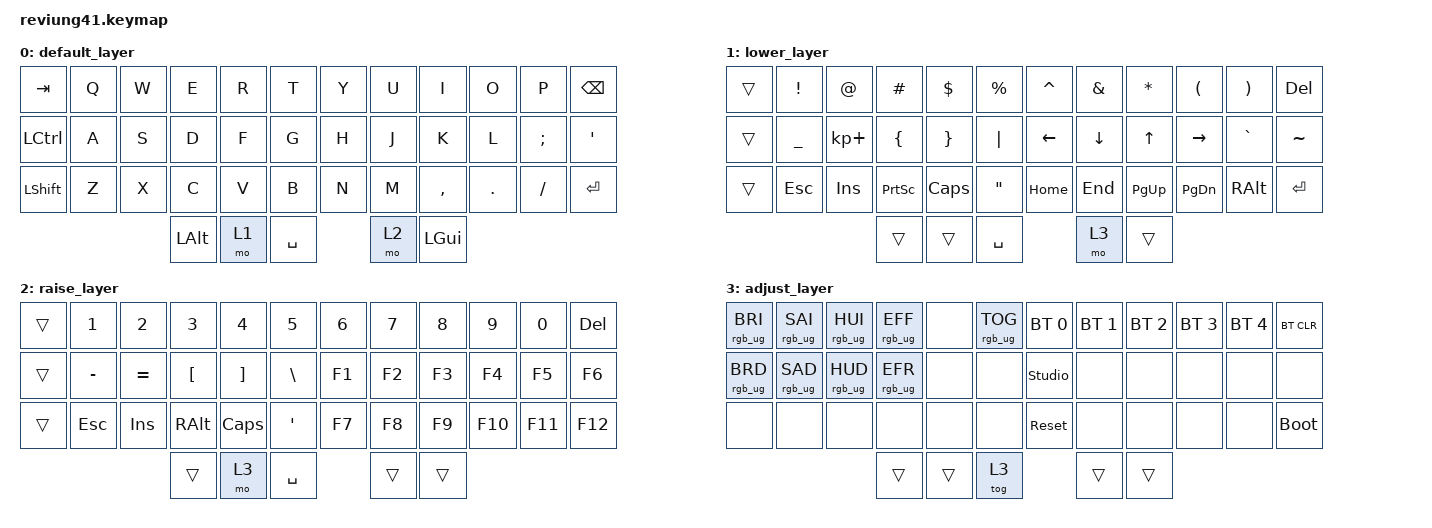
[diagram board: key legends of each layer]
/*
 * Copyright (c) 2020 The ZMK Contributors
 *
 * SPDX-License-Identifier: MIT
 */

#include <behaviors.dtsi>
#include <dt-bindings/zmk/keys.h>
#include <dt-bindings/zmk/bt.h>
#include <dt-bindings/zmk/rgb.h>

 #define DEFAULT 0
 #define LOWER  1
 #define RAISE  2
 #define ADJUST 3

/ {
        keymap {
                compatible = "zmk,keymap";

                default_layer {
// -------------------------------------------------------------------------------------
// |  TAB |  Q  |  W  |  E  |  R  |  T  |   |  Y  |  U   |  I  |  O  |  P  |   BKSP    |
// | CTRL |  A  |  S  |  D  |  F  |  G  |   |  H  |  J   |  K  |  L  |  ;  |    '      |
// | SHFT |  Z  |  X  |  C  |  V  |  B  |   |  N  |  M   |  ,  |  .  |  /  | SHFT(RET) |
//                         | ALT | LWR | SPC | RSE  | ALT |
                        bindings = <
   &kp TAB   &kp Q &kp W &kp E &kp R &kp T   &kp Y &kp U  &kp I     &kp O   &kp P    &kp BSPC
   &kp LCTRL &kp A &kp S &kp D &kp F &kp G   &kp H &kp J  &kp K     &kp L   &kp SEMI &kp SQT
   &kp LSHFT &kp Z &kp X &kp C &kp V &kp B   &kp N &kp M  &kp COMMA &kp DOT &kp FSLH &kp RET
                        &kp LALT  &mo 1 &kp SPACE &mo 2  &kp LGUI
                        >;
                };

                lower_layer {
// ----------------------------------------------------------------------------------
// |    |  !  |  @  |  #  |  $  |  %  |   |  ^  |  &  |  *  |  (  |  )  |    DEL    |
// |    |  _  |  +  |  {  |  }  | "|" |   | LFT | DWN |  UP | RGT |  `  |     ~     |
// |    | ESC | GUI | ALT | CAPS|  "  |   | HOME| END | PGUP| PGDN| PRSC| SHFT(RET) |
//                       |     |     | RET | ADJ |     |
                        bindings = <
   &trans &kp EXCL  &kp AT      &kp HASH &kp DLLR &kp PRCNT      &kp CARET &kp AMPS &kp STAR    &kp LPAR  &kp RPAR  &kp DEL
   &trans &kp UNDER &kp KP_PLUS &kp LBRC &kp RBRC &kp PIPE       &kp LEFT  &kp DOWN &kp UP    &kp RIGHT &kp GRAVE &kp TILDE
   &trans &kp ESC   &kp INS     &kp PSCRN &kp CLCK &kp DQT        &kp HOME  &kp END  &kp PG_UP &kp PG_DN &kp RALT &kp RET
                                 &trans      &trans       &kp SPACE        &mo 3       &trans
                        >;
                };

                raise_layer {
// -----------------------------------------------------------------------------------------
// |    |  1  |  2  |  3  |  4  |  5  |   |  6  |  7  |  8  |  9  |  0  | DEL |
// |    |  -  |  =  |  [  |  ]  |  \  |   | F1  | F2  | F3  | F4  | F5  | F6  |
// |    | ESC | GUI | ALT | CAPS|  "  |   | F7  | F8  | F9  | F10 | F11 | F12 |
//                       |     | ADJ | BKSP |    |     |
                        bindings = <
   &trans &kp N1    &kp N2    &kp N3    &kp N4    &kp N5        &kp N6    &kp N7    &kp N8    &kp N9    &kp N0    &kp DEL
   &trans &kp MINUS &kp EQUAL &kp LBKT  &kp RBKT  &kp BSLH      &kp F1    &kp F2    &kp F3    &kp F4    &kp F5    &kp F6
   &trans &kp ESC   &kp INS   &kp RALT  &kp CLCK  &kp SQT       &kp F7    &kp F8    &kp F9    &kp F10   &kp F11   &kp F12
                                &trans      &mo 3       &kp SPACE        &trans      &trans
                        >;
                };

                adjust_layer {
// -----------------------------------------------------------------------------------------
// | RGB BRI+ | RGB SAT+ | RGB HUE+ | RGB ANI+ |    | RGB TOG |   | BT1             | BT2 | BT3 | BT4 | BT5 | BT CLR |
// | RGB BRI- | RGB SAT- | RGB HUE- | RGB ANI- |    |         |   | studio_unlock   |     |     |     |     |        |
// |          |          |          |          |    |         |   | RESET           |     |     |     |     |        |
//                                              |     |     |     |     |     |
                        bindings = <
   &rgb_ug RGB_BRI &rgb_ug RGB_SAI &rgb_ug RGB_HUI &rgb_ug RGB_EFF &none &rgb_ug RGB_TOG    &bt BT_SEL 0 &bt BT_SEL 1 &bt BT_SEL 2 &bt BT_SEL 3 &bt BT_SEL 4 &bt BT_CLR
   &rgb_ug RGB_BRD &rgb_ug RGB_SAD &rgb_ug RGB_HUD &rgb_ug RGB_EFR &none &none              &studio_unlock   &none        &none        &none        &none        &none
   &none           &none           &none           &none           &none &none              &sys_reset       &none        &none        &none        &none        &bootloader
                                                             &trans      &trans       &tog 3        &trans      &trans
                        >;
                };
        };
};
